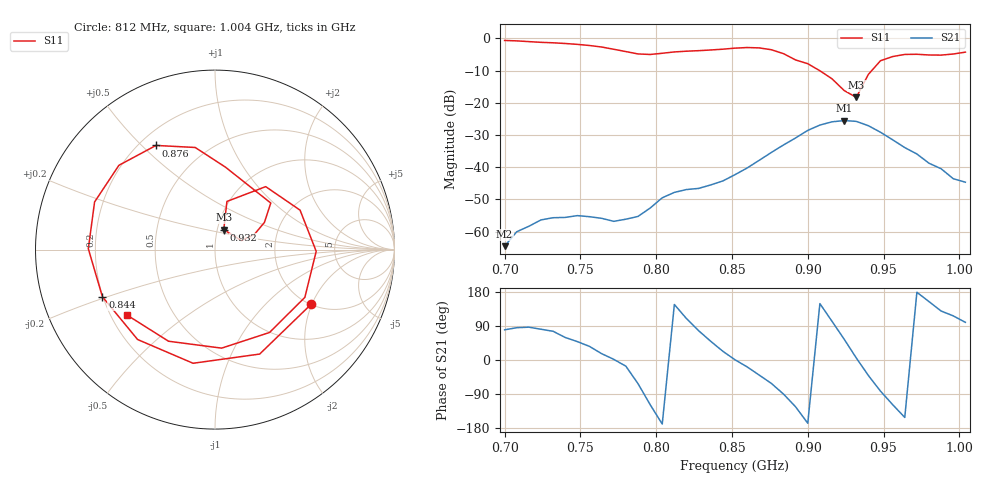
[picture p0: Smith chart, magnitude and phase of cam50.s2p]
# Hz S RI R 50
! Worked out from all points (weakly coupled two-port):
!   39 points, 700 MHz to 1.004 GHz, reference 50 ohm
!   highest |S21| = -25.52 dB at 924 MHz (marker M1); lowest = -64.5 dB at 700 MHz (marker M2)
!   lowest |S11| = -18.3 dB at 932 MHz (marker M3), VSWR 1.28, Z = 53.7 + j12.1 ohm
!   |S11| at or under -10 dB: 907.8 MHz to 942.2 MHz (34.37 MHz wide, 3.72 % of centre)
!   S12 and S22 are empty: the file has one direction only
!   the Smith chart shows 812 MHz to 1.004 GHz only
!   S11 on the Smith chart (normalised r, x): 812 MHz: 2.02, -1.98; 844 MHz: 0.20, -0.19; 876 MHz: 0.26, +0.55; 932 MHz: 1.07, +0.24; 1.004 GHz: 0.27, -0.31
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7e8  0.7637 0.5293  0.000106 0.000584  0 0  0 0
7.24e8  0.829 -0.2603  0.000233 0.0015  0 0  0 0
7.4e8  0.4479 -0.7029  0.000844 0.00143  0 0  0 0
7.56e8  -0.1974 -0.7505  0.00138 0.000999  0 0  0 0
7.72e8  -0.6519 -0.1868  0.00144 4.43e-05  0 0  0 0
7.8e8  -0.5791 0.2328  0.0015 -0.000438  0 0  0 0
7.88e8  -0.2207 0.5297  0.000799 -0.00152  0 0  0 0
7.96e8  0.2608 0.4989  -0.00108 -0.00205  0 0  0 0
8.04e8  0.5695 0.1453  -0.00329 -0.000636  0 0  0 0
8.12e8  0.5364 -0.3039  -0.00339 0.00224  0 0  0 0
8.28e8  -0.1222 -0.6333  0.00102 0.00457  0 0  0 0
8.44e8  -0.6274 -0.2626  0.00564 0.00239  0 0  0 0
8.52e8  -0.7058 0.00469  0.00765 7.9e-05  0 0  0 0
8.76e8  -0.3287 0.5803  0.00801 -0.0149  0 0  0 0
9e8  0.3107 0.2594  -0.0363 -0.00851  0 0  0 0
9.08e8  0.2755 0.1518  -0.0386 0.0234  0 0  0 0
9.24e8  0.147 0.0498  0.0304 0.0434  0 0  0 0
9.32e8  0.0488 0.1112  0.0513 0.00493  0 0  0 0
9.48e8  0.2825 0.3508  0.00468 -0.0345  0 0  0 0
9.56e8  0.4739 0.2198  -0.0124 -0.0236  0 0  0 0
9.8e8  0.3037 -0.4618  -0.0104 0.00504  0 0  0 0
1.004e9  -0.4923 -0.3634  -0.000956 0.00577  0 0  0 0
